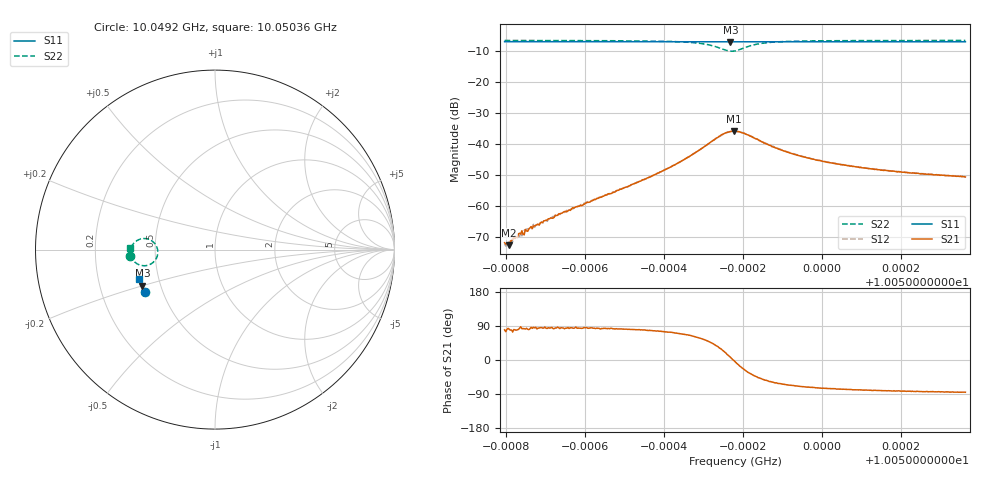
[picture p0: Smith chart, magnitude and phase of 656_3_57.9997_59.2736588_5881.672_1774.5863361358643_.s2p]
#  HZ  S  RI  R  50.00
! Rohde & Schwarz Vector Network Analyzer
! Rohde-Schwarz,ZNB20-2Port,1311601062101988,3.16
! Created: UTC 3/21/2024, 1:19:46 AM
! freq[Hz]  re:S11  im:S11  re:S21  im:S21  re:S12  im:S12  re:S22  im:S22
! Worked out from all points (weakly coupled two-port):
!   401 points, 10.0492 GHz to 10.05036 GHz, reference 50 ohm
!   highest |S21| = -35.78 dB at 10.04978 GHz (marker M1); lowest = -72.8 dB at 10.04921 GHz (marker M2)
!   lowest |S11| = -6.9 dB at 10.04977 GHz (marker M3), VSWR 2.65, Z = 19.8 - j10 ohm
!   |S11| at or under -10 dB: nowhere
!   |S22| runs from -9.9 to -6.5 dB; largest |S21 - S12| = 0.0014
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1.0049196e10  -0.3891 -0.2353  4.59e-05 0.00025  1.27e-05 0.000246  -0.4737 -0.0343
1.0049208e10  -0.3893 -0.2347  3.57e-05 0.000227  1.32e-05 0.000264  -0.4738 -0.0331
1.0049226e10  -0.3898 -0.2336  6.22e-05 0.00031  2.39e-05 0.00031  -0.4738 -0.0316
1.0049234e10  -0.3902 -0.233  3.81e-05 0.000361  1.22e-05 0.000321  -0.4737 -0.0307
1.0049252e10  -0.3907 -0.232  4.41e-05 0.000391  -5.32e-06 0.000424  -0.4738 -0.0291
1.0049275e10  -0.3915 -0.2306  3e-05 0.000487  2.59e-05 0.00048  -0.4737 -0.0265
1.004933e10  -0.3932 -0.2274  4.08e-05 0.000705  3.68e-05 0.000701  -0.4734 -0.0208
1.0049392e10  -0.3951 -0.2238  0.000113 0.001  2.67e-05 0.00107  -0.4726 -0.0137
1.0049587e10  -0.4009 -0.2122  0.000847 0.00333  0.000618 0.00342  -0.4623 0.0205
1.0049648e10  -0.4027 -0.2083  0.00205 0.00513  0.00173 0.00524  -0.4481 0.0397
1.0049721e10  -0.4043 -0.2035  0.00793 0.0078  0.00738 0.00823  -0.3875 0.0615
1.0049747e10  -0.4045 -0.2021  0.0129 0.00632  0.0123 0.0071  -0.3434 0.0422
1.0049768e10  -0.4045 -0.2012  0.0159 0.00206  0.0155 0.00315  -0.3194 -0.0014
1.0049776e10  -0.4047 -0.2009  0.0162 -0.000363  0.0162 0.000796  -0.3193 -0.0245
1.0049779e10  -0.4047 -0.2008  0.0161 -0.00121  0.0161 -7.04e-05  -0.3206 -0.0322
1.0049811e10  -0.406 -0.1998  0.012 -0.00747  0.0127 -0.00672  -0.3683 -0.0852
1.0049852e10  -0.4077 -0.1975  0.00646 -0.00822  0.00722 -0.00785  -0.4235 -0.0843
1.0049905e10  -0.4094 -0.1943  0.00333 -0.00694  0.00381 -0.00679  -0.4529 -0.0633
1.0049975e10  -0.4115 -0.19  0.00176 -0.00548  0.0021 -0.00539  -0.4661 -0.042
1.0050065e10  -0.4138 -0.1844  0.000958 -0.00438  0.00119 -0.00435  -0.4722 -0.0243
1.005017e10  -0.4164 -0.178  0.000561 -0.00364  0.00078 -0.00365  -0.4745 -0.00946
1.0050362e10  -0.421 -0.1662  0.000251 -0.00293  0.000413 -0.00293  -0.4754 0.0102
